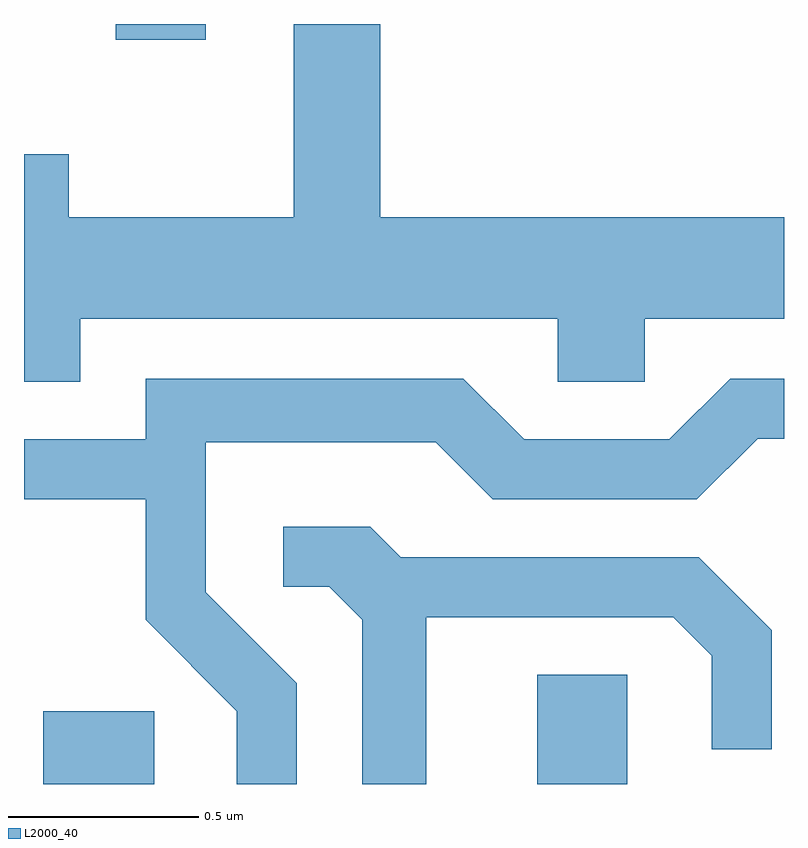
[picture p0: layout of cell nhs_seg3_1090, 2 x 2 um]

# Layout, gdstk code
import gdstk
lib = gdstk.Library(unit=1e-6, precision=1e-09)
def R(c, l, rs):  # rectangles x0, y0, x1, y1
    for r in rs: c.add(gdstk.rectangle(r[:2], r[2:], *l))
def P(c, l, *ps):  # polygons
    for p in ps: c.add(gdstk.Polygon(p, *l))
L2000_40 = (2000, 40)

nhs_seg3_1090 = lib.new_cell('nhs_seg3_1090')
R(nhs_seg3_1090, L2000_40, [(192.661,1246.892,192.954,1247.084), (193.961,1246.892,194.199,1247.179), (192.853,1248.851,193.089,1248.892)])
P(nhs_seg3_1090, L2000_40, [(192.759,1248.116),(194.016,1248.116),(194.016,1247.951),(194.244,1247.951),(194.244,1248.116),(194.611,1248.116),(194.611,1248.384),(193.549,1248.384),(193.549,1248.892),(193.321,1248.892),(193.321,1248.384),(192.729,1248.384),(192.729,1248.549),(192.611,1248.549),(192.611,1247.951),(192.759,1247.951)],
  [(193.329,1247.157),(193.089,1247.397),(193.089,1247.791),(193.694,1247.791),(193.844,1247.641),(194.382,1247.641),(194.542,1247.801),(194.611,1247.801),(194.611,1247.959),(194.469,1247.959),(194.309,1247.799),(193.927,1247.799),(193.767,1247.959),(192.931,1247.959),(192.931,1247.799),(192.611,1247.799),(192.611,1247.641),(192.931,1247.641),(192.931,1247.324),(193.171,1247.084),(193.171,1246.892),(193.329,1246.892)],
  [(193.669,1247.331),(194.319,1247.331),(194.421,1247.229),(194.421,1246.983),(194.579,1246.983),(194.579,1247.297),(194.387,1247.489),(193.602,1247.489),(193.522,1247.569),(193.293,1247.569),(193.293,1247.411),(193.414,1247.411),(193.501,1247.324),(193.501,1246.892),(193.669,1246.892)])

lib.write_gds('nhs_seg3_1090.gds')
